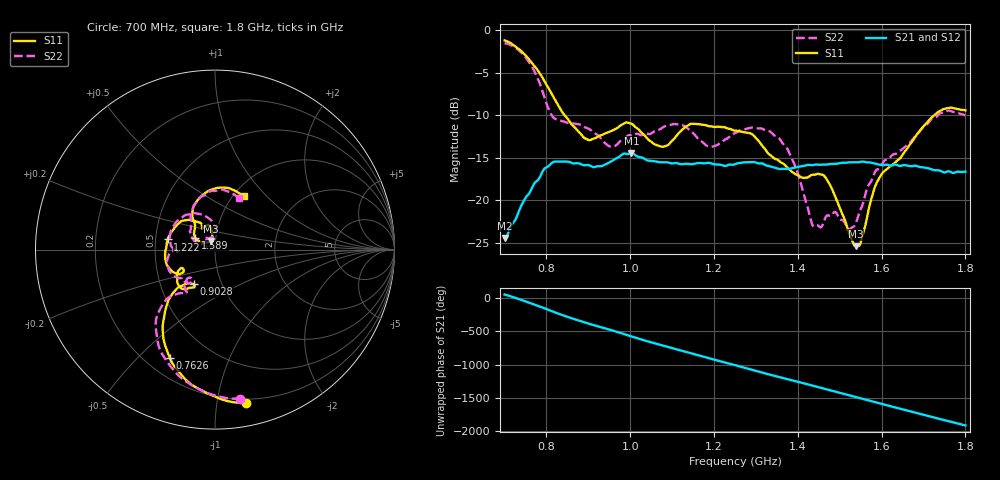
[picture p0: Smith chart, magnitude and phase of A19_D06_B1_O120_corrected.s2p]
! Created with skrf 1.9.0 (http://scikit-rf.org).
# Hz S RI R 50.0
!freq ReS11 ImS11 ReS21 ImS21 ReS12 ImS12 ReS22 ImS22
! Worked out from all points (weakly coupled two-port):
!   1601 points, 700 MHz to 1.8 GHz, reference 50 ohm
!   highest |S21| = -14.46 dB at 1.002 GHz (marker M1); lowest = -24.4 dB at 700.7 MHz (marker M2)
!   lowest |S11| = -25.4 dB at 1.538 GHz (marker M3), VSWR 1.11, Z = 47.5 + j4.6 ohm
!   |S11| at or under -10 dB: 843.5 MHz to 1.725 GHz (881.8 MHz wide, 68.7 % of centre)
!   |S22| runs from -23.4 to -1.5 dB; largest |S21 - S12| = 0.0035
!   S11 on the Smith chart (normalised r, x): 700 MHz: 0.17, -1.21; 762.6 MHz: 0.30, -0.63; 902.8 MHz: 0.74, -0.30; 1.222 GHz: 0.58, +0.07; 1.589 GHz: 0.80, +0.11; 1.8 GHz: 1.12, +0.75
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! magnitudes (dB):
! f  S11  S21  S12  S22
! 700 MHz  -1.2  -24.4  -24.2  -1.5
! 700.7 MHz  -1.2  -24.4  -24.1  -1.5
! 762.6 MHz  -3.7  -18.8  -18.8  -4.0
! 815.5 MHz  -7.7  -15.5  -15.6  -10.2
! 883.6 MHz  -12.3  -15.8  -15.7  -11.2
! 902.8 MHz  -12.9  -15.9  -15.9  -11.6
! 953.7 MHz  -11.9  -15.4  -15.4  -13.7
! 1.002 GHz  -11.0  -14.5  -14.6  -12.4
! 1.067 GHz  -13.6  -15.5  -15.4  -11.7
! 1.144 GHz  -11.0  -15.7  -15.7  -11.8
! 1.222 GHz  -11.4  -15.9  -15.9  -13.0
! 1.25 GHz  -11.8  -15.7  -15.7  -12.1
! 1.356 GHz  -15.4  -16.3  -16.2  -12.7
! 1.394 GHz  -16.9  -16.1  -16.1  -16.0
! 1.434 GHz  -17.0  -15.9  -15.8  -22.7
! 1.471 GHz  -17.7  -15.8  -15.8  -21.8
! 1.538 GHz  -25.4  -15.5  -15.5  -22.7
! 1.551 GHz  -24.8  -15.5  -15.5  -20.9
! 1.589 GHz  -17.9  -15.7  -15.7  -16.4
! 1.617 GHz  -16.1  -15.9  -15.8  -15.1
! 1.733 GHz  -9.7  -16.5  -16.5  -10.1
! 1.8 GHz  -9.4  -16.6  -16.6  -10.0
